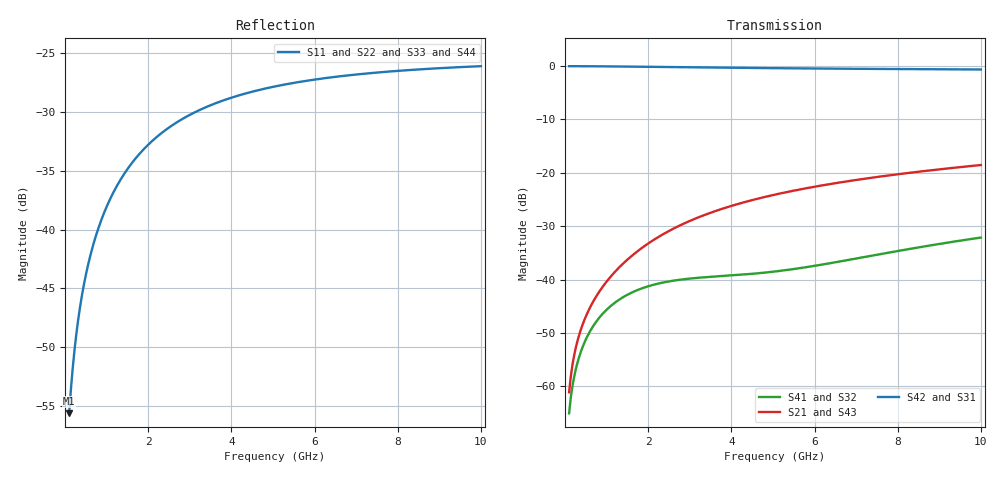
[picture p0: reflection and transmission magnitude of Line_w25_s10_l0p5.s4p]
! TOUCHSTONE file generated by CST MICROWAVE STUDIO
! Date and time: Mon Oct 20 12:10:19 2014
! Project name: Untitled_1.cst
# GHZ S MA R 50
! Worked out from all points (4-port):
!   1001 points, 100 MHz to 10 GHz, reference 50 ohm
!   strongest paths, dB at 100 MHz, 2.575 GHz, 5.05 GHz, 7.525 GHz, 10 GHz:
!     S42: 0.0, -0.2, -0.4, -0.5, -0.6
!     S31: 0.0, -0.2, -0.4, -0.5, -0.6
!     S21: -61.1, -30.6, -24.1, -20.7, -18.5
!     S43: -61.1, -30.6, -24.1, -20.7, -18.5
!     S41: -65.0, -40.2, -38.5, -35.3, -32.1
!     S32: -65.0, -40.2, -38.5, -35.3, -32.1
!   lowest |S11| = -55.6 dB at 100 MHz (marker M1), VSWR 1.00, Z = 50.1 - j0.126 ohm
!   |S11| at or under -10 dB: start of sweep to end of sweep
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0.1  0.001654 -49.3  0.0008798 90.9  0.9988 -0.3  0.0005595 -92.0
     0.0008798 90.9  0.001651 -49.2  0.0005595 -92.0  0.9988 -0.3
     0.9988 -0.3  0.0005595 -92.0  0.001654 -49.3  0.0008798 90.9
     0.0005595 -92.0  0.9988 -0.3  0.0008798 90.9  0.001651 -49.2
0.3574  0.004624 -81.0  0.003175 93.4  0.9982 -1.0  0.001976 -96.5
        0.003176 93.4  0.004607 -81.0  0.001976 -96.5  0.9982 -1.0
        0.9982 -1.0  0.001976 -96.5  0.004623 -81.0  0.003175 93.4
        0.001976 -96.5  0.9982 -1.0  0.003176 93.4  0.004607 -80.9
0.8029  0.01014 -96.9  0.007486 96.6  0.9959 -2.1  0.004292 -104.2
        0.007485 96.6  0.01011 -96.9  0.004292 -104.2  0.9959 -2.1
        0.9959 -2.1  0.004292 -104.2  0.01014 -96.9  0.007486 96.6
        0.004292 -104.2  0.9959 -2.1  0.007485 96.6  0.01011 -96.9
1.4959  0.01804 -112.1  0.01533 98.2  0.9902 -3.8  0.0072 -114.9
        0.01533 98.2  0.01798 -112.1  0.0072 -114.9  0.9903 -3.8
        0.9902 -3.8  0.0072 -114.9  0.01804 -112.0  0.01533 98.2
        0.0072 -114.9  0.9903 -3.8  0.01533 98.2  0.01798 -112.1
2.4859  0.02709 -128.5  0.02836 95.8  0.9801 -5.9  0.009602 -124.8
        0.02836 95.8  0.02701 -128.5  0.009603 -124.8  0.9801 -5.9
        0.9801 -5.9  0.009603 -124.8  0.02708 -128.4  0.02836 95.8
        0.009602 -124.8  0.9801 -5.9  0.02836 95.8  0.02701 -128.5
5.2579  0.04139 -160.2  0.06517 84.4  0.9548 -10.9  0.0122 -120.1
        0.06517 84.4  0.04127 -160.3  0.0122 -120.1  0.9548 -10.9
        0.9548 -10.9  0.0122 -120.1  0.04135 -160.1  0.06517 84.4
        0.0122 -120.1  0.9548 -10.9  0.06517 84.4  0.04126 -160.3
10  0.04964 165.3  0.1185 72.1  0.9299 -18.3  0.02479 -109.4
    0.1185 72.1  0.04953 165.1  0.02478 -109.4  0.93 -18.3
    0.9299 -18.3  0.02478 -109.4  0.04948 165.4  0.1185 72.1
    0.02479 -109.4  0.93 -18.3  0.1185 72.1  0.04949 165.1
